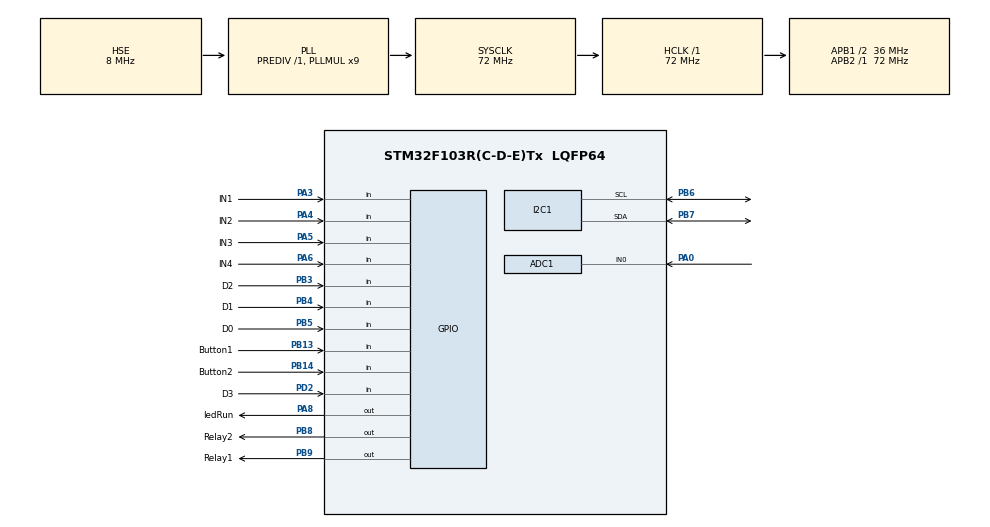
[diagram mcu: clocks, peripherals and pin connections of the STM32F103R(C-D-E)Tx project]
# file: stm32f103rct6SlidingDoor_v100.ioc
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ADC1.Channel-0\#ChannelRegularConversion=ADC_CHANNEL_0
ADC1.ContinuousConvMode=ENABLE
ADC1.NbrOfConversionFlag=1
ADC1.Rank-0\#ChannelRegularConversion=1
ADC1.SamplingTime-0\#ChannelRegularConversion=ADC_SAMPLETIME_239CYCLES_5
ADC1.master=1
Dma.ADC1.0.Direction=DMA_PERIPH_TO_MEMORY
Dma.ADC1.0.Instance=DMA1_Channel1
Dma.ADC1.0.MemDataAlignment=DMA_MDATAALIGN_HALFWORD
Dma.ADC1.0.MemInc=DMA_MINC_ENABLE
Dma.ADC1.0.Mode=DMA_CIRCULAR
Dma.ADC1.0.PeriphDataAlignment=DMA_PDATAALIGN_HALFWORD
Dma.ADC1.0.PeriphInc=DMA_PINC_DISABLE
Dma.ADC1.0.Priority=DMA_PRIORITY_LOW
Dma.Request0=ADC1
FREERTOS.Tasks01=defaultTask,24,128,StartDefaultTask,Default,NULL,Dynamic,NULL,NULL;myTask02,8,128,StartTask02,Default,NULL,Dynamic,NULL,NULL;myTask03,8,128,StartTask03,Default,NULL,Dynamic,NULL,NULL;myTask04,8,128,StartTask04,Default,NULL,Dynamic,NULL,NULL
I2C1.I2C_Mode=I2C_Fast
Mcu.Family=STM32F1
Mcu.Name=STM32F103R(C-D-E)Tx
Mcu.Package=LQFP64
NVIC.DMA1_Channel1_IRQn=true\:5\:0\:false\:false\:true\:true\:false\:true
NVIC.PriorityGroup=NVIC_PRIORITYGROUP_4
NVIC.TIM1_UP_IRQn=true\:15\:0\:false\:false\:true\:false\:false\:true
NVIC.TimeBase=TIM1_UP_IRQn
NVIC.TimeBaseIP=TIM1
PA0-WKUP.Signal=ADCx_IN0
PA13.Mode=Serial_Wire
PA13.Signal=SYS_JTMS-SWDIO
PA14.Mode=Serial_Wire
PA14.Signal=SYS_JTCK-SWCLK
PA3.GPIO_Label=IN1
PA3.GPIO_Mode=GPIO_MODE_INPUT
PA3.GPIO_PuPd=GPIO_PULLUP
PA3.Signal=GPIO_Input
PA4.GPIO_Label=IN2
PA4.GPIO_Mode=GPIO_MODE_INPUT
PA4.GPIO_PuPd=GPIO_PULLUP
PA4.Signal=GPIO_Input
PA5.GPIO_Label=IN3
PA5.GPIO_Mode=GPIO_MODE_INPUT
PA5.GPIO_PuPd=GPIO_PULLUP
PA5.Signal=GPIO_Input
PA6.GPIO_Label=IN4
PA6.GPIO_Mode=GPIO_MODE_INPUT
PA6.GPIO_PuPd=GPIO_PULLUP
PA6.Signal=GPIO_Input
PA8.GPIO_Label=ledRun
PA8.GPIO_ModeDefaultOutputPP=GPIO_MODE_OUTPUT_PP
PA8.GPIO_Speed=GPIO_SPEED_FREQ_HIGH
PA8.Signal=GPIO_Output
PB13.GPIO_Label=Button1
PB13.GPIO_Mode=GPIO_MODE_INPUT
PB13.GPIO_PuPd=GPIO_PULLUP
PB13.Signal=GPIO_Input
PB14.GPIO_Label=Button2
PB14.GPIO_Mode=GPIO_MODE_INPUT
PB14.GPIO_PuPd=GPIO_PULLUP
PB14.Signal=GPIO_Input
PB3.GPIO_Label=D2
PB3.GPIO_Mode=GPIO_MODE_INPUT
PB3.GPIO_PuPd=GPIO_PULLDOWN
PB3.Signal=GPIO_Input
PB4.GPIO_Label=D1
PB4.GPIO_Mode=GPIO_MODE_INPUT
PB4.GPIO_PuPd=GPIO_PULLDOWN
PB4.Signal=GPIO_Input
PB5.GPIO_Label=D0
PB5.GPIO_Mode=GPIO_MODE_INPUT
PB5.GPIO_PuPd=GPIO_PULLDOWN
PB5.Signal=GPIO_Input
PB6.Mode=I2C
PB6.Signal=I2C1_SCL
PB7.Mode=I2C
PB7.Signal=I2C1_SDA
PB8.GPIO_Label=Relay2
PB8.GPIO_ModeDefaultOutputPP=GPIO_MODE_OUTPUT_PP
PB8.GPIO_PuPd=GPIO_NOPULL
PB8.GPIO_Speed=GPIO_SPEED_FREQ_LOW
PB8.PinState=GPIO_PIN_SET
PB8.Signal=GPIO_Output
PB9.GPIO_Label=Relay1
PB9.GPIO_ModeDefaultOutputPP=GPIO_MODE_OUTPUT_PP
PB9.GPIO_PuPd=GPIO_NOPULL
PB9.GPIO_Speed=GPIO_SPEED_FREQ_LOW
PB9.PinState=GPIO_PIN_SET
PB9.Signal=GPIO_Output
PD0-OSC_IN.Mode=HSE-External-Oscillator
PD0-OSC_IN.Signal=RCC_OSC_IN
PD1-OSC_OUT.Mode=HSE-External-Oscillator
PD1-OSC_OUT.Signal=RCC_OSC_OUT
PD2.GPIO_Label=D3
PD2.GPIO_Mode=GPIO_MODE_INPUT
PD2.GPIO_PuPd=GPIO_PULLDOWN
PD2.Signal=GPIO_Input
ProjectManager.HeapSize=0x200
ProjectManager.StackSize=0x400
ProjectManager.TargetToolchain=MDK-ARM V5.32
RCC.ADCPresc=RCC_ADCPCLK2_DIV6
RCC.AHBFreq_Value=72000000
RCC.APB1CLKDivider=RCC_HCLK_DIV2
RCC.APB1Freq_Value=36000000
RCC.APB1TimFreq_Value=72000000
RCC.APB2Freq_Value=72000000
RCC.APB2TimFreq_Value=72000000
RCC.HCLKFreq_Value=72000000
RCC.PLLMUL=RCC_PLL_MUL9
RCC.PLLSourceVirtual=RCC_PLLSOURCE_HSE
RCC.SYSCLKFreq_VALUE=72000000
RCC.SYSCLKSource=RCC_SYSCLKSOURCE_PLLCLK
RCC.USBFreq_Value=72000000
SH.ADCx_IN0.0=ADC1_IN0,IN0
VP_FREERTOS_VS_CMSIS_V2.Mode=CMSIS_V2
VP_SYS_VS_tim1.Mode=TIM1
board=custom

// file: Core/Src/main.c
/* USER CODE BEGIN Header */
/**
  ******************************************************************************
  * @file           : main.c
  * @brief          : Main program body
  ******************************************************************************
  * @attention
  *
  * <h2><center>&copy; Copyright (c) 2020 STMicroelectronics.
  * All rights reserved.</center></h2>
  *
  * This software component is licensed by ST under Ultimate Liberty license
  * SLA0044, the "License"; You may not use this file except in compliance with
  * the License. You may obtain a copy of the License at:
  *                             www.st.com/SLA0044
  *
  ******************************************************************************
  */
/* USER CODE END Header */
#include "main.h"
#include "cmsis_os.h"

/* USER CODE BEGIN Includes */
#if (OTHER_APPLICATION == 0)

/// HLP_v421_12012022

    #include "skybus_timeOut.h"
    //#include "ssd1306.h"
    #include "ssd1306_dma.h"

    #include "skybus_oled_handle.h"
    #include "skybus_relayMotor.h"
    #include "skybus_eeprom.h"
    #include "skybus_remote.h"
    #include "skybus_process.h"
    #include "skybus_setting.h"
    #include "skybus_opto.h"
#else
    #include "newControl.h"
#endif
/* USER CODE END Includes */

/* USER CODE BEGIN PTD */
typedef enum _relayState_t
{
    RELAY_OFF,
    RELAY_ON,

}relayState_t;
/* USER CODE END PTD */

ADC_HandleTypeDef hadc1;
DMA_HandleTypeDef hdma_adc1;

I2C_HandleTypeDef hi2c1;

/* Definitions for defaultTask */
osThreadId_t defaultTaskHandle;
const osThreadAttr_t defaultTask_attributes = {
  .name = "defaultTask",
  .stack_size = 128 * 4,
  .priority = (osPriority_t) osPriorityNormal,
};
/* Definitions for myTask02 */
osThreadId_t myTask02Handle;
const osThreadAttr_t myTask02_attributes = {
  .name = "myTask02",
  .stack_size = 128 * 4,
  .priority = (osPriority_t) osPriorityLow,
};
/* Definitions for myTask03 */
osThreadId_t myTask03Handle;
const osThreadAttr_t myTask03_attributes = {
  .name = "myTask03",
  .stack_size = 128 * 4,
  .priority = (osPriority_t) osPriorityLow,
};
/* Definitions for myTask04 */
osThreadId_t myTask04Handle;
const osThreadAttr_t myTask04_attributes = {
  .name = "myTask04",
  .stack_size = 128 * 4,
  .priority = (osPriority_t) osPriorityLow,
};
/* USER CODE BEGIN PV */
#if(OTHER_APPLICATION == 0)
    skybus_timeOut_t* timeOut;
    skybus_relayMotor_t* motor;
    skybus_eeprom_t*    eeprom;
    skybus_remote_t*    remote;
    skybus_process_t*   sys_process;
    skybus_setting_t*   setting;
    //skybus_opto_t      opto;
    __IO uint32_t countTask[4];
    __IO uint16_t adc_value[1];
    char data[50] = {0};
    uint16_t VirtAddVarTab[NB_OF_VAR];
    char dma_rx_buf[255];
#endif
/* USER CODE END PV */

void SystemClock_Config(void);
static void MX_GPIO_Init(void);
static void MX_DMA_Init(void);
static void MX_ADC1_Init(void);
static void MX_I2C1_Init(void);
void StartDefaultTask(void *argument);
void StartTask02(void *argument);
void StartTask03(void *argument);
void StartTask04(void *argument);

/* USER CODE BEGIN 0 */
static void relayControl(relayState_t state)
{
    if(state == RELAY_OFF)
    {
        HAL_GPIO_WritePin(Relay1_GPIO_Port, Relay1_Pin, GPIO_PIN_SET);
        HAL_GPIO_WritePin(Relay2_GPIO_Port, Relay2_Pin, GPIO_PIN_SET);

        HAL_GPIO_WritePin(ledRun_GPIO_Port, ledRun_Pin, GPIO_PIN_SET);
    }
    else if(state == RELAY_ON)
    {
        HAL_GPIO_WritePin(Relay1_GPIO_Port, Relay1_Pin, GPIO_PIN_RESET);
        HAL_GPIO_WritePin(Relay2_GPIO_Port, Relay2_Pin, GPIO_PIN_SET);

        HAL_GPIO_WritePin(ledRun_GPIO_Port, ledRun_Pin, GPIO_PIN_RESET);
    }
}

static void relayButtonProcess(void)
{
    static GPIO_PinState pinStt[8];
    static relayState_t state = RELAY_OFF;

    memset(pinStt, GPIO_PIN_SET, 8);

    pinStt[0] = HAL_GPIO_ReadPin(IN1_GPIO_Port, IN1_Pin);
    pinStt[1] = HAL_GPIO_ReadPin(IN2_GPIO_Port, IN2_Pin);
    pinStt[2] = HAL_GPIO_ReadPin(IN3_GPIO_Port, IN3_Pin);
    pinStt[3] = HAL_GPIO_ReadPin(IN4_GPIO_Port, IN4_Pin);

    pinStt[4] = HAL_GPIO_ReadPin(D0_GPIO_Port, D0_Pin);
    pinStt[5] = HAL_GPIO_ReadPin(D1_GPIO_Port, D1_Pin);
    pinStt[6] = HAL_GPIO_ReadPin(D2_GPIO_Port, D2_Pin);
    pinStt[7] = HAL_GPIO_ReadPin(D3_GPIO_Port, D3_Pin);

    for(uint8_t i = 0; i < 4; i++)
    {
        if(pinStt[i] == GPIO_PIN_RESET)
        {
            HAL_Delay(500);

            state = !state;

            break;
        }
    }

    for(uint8_t i = 4; i < 8; i++)
    {
        if(pinStt[i] == GPIO_PIN_RESET)
        {
            HAL_Delay(500);

            state = !state;

            break;
        }
    }

    relayControl(state);
}
/* USER CODE END 0 */

int main(void)
{

  /* MCU Configuration--------------------------------------------------------*/

  /* Reset of all peripherals, Initializes the Flash interface and the Systick. */
  HAL_Init();

  /* Configure the system clock */
  SystemClock_Config();

  /* Initialize all configured peripherals */
  MX_GPIO_Init();
  MX_DMA_Init();
  MX_ADC1_Init();
  MX_I2C1_Init();
  /* USER CODE BEGIN 2 */
  #if(OTHER_APPLICATION == 0)
    timeOut = skybus_timeOut_init();
    ssd1306_Init ();
    ssd1306_Clear ();
    ssd1306_SetColor (White);

    if(HAL_ADC_Start(&hadc1) != HAL_OK)
    {
        Error_Handler();
    }

    if(HAL_ADC_Start_DMA(&hadc1, (uint32_t *)adc_value, 1) != HAL_OK)
    {
        /// cau hinh phan adc analog error
        Error_Handler();
    }

    remote = skybus_remote_init();
//    opto_button = skybus_opto_init();
    eeprom = skybus_eeprom_init();
    setting = skybus_setting_init();
    motor = skybus_relayMotor_init();
    sys_process = skybus_sys_process_init();

//    /// get current Offset
    sys_process->OffsetReal();
  #else
    newControlConfiguration();
  #endif
  /* USER CODE END 2 */

  /* Init scheduler */
  osKernelInitialize();

  /* Create the thread(s) */
  /* creation of defaultTask */
  defaultTaskHandle = osThreadNew(StartDefaultTask, NULL, &defaultTask_attributes);

  /* creation of myTask02 */
  myTask02Handle = osThreadNew(StartTask02, NULL, &myTask02_attributes);

  /* creation of myTask03 */
  myTask03Handle = osThreadNew(StartTask03, NULL, &myTask03_attributes);

  /* creation of myTask04 */
  myTask04Handle = osThreadNew(StartTask04, NULL, &myTask04_attributes);

  /* Start scheduler */
  osKernelStart();

  /* We should never get here as control is now taken by the scheduler */
  /* Infinite loop */
  while (1)
  {

  }
}

void SystemClock_Config(void)
{
  RCC_OscInitTypeDef RCC_OscInitStruct = {0};
  RCC_ClkInitTypeDef RCC_ClkInitStruct = {0};
  RCC_PeriphCLKInitTypeDef PeriphClkInit = {0};

  /** Initializes the RCC Oscillators according to the specified parameters
  * in the RCC_OscInitTypeDef structure.
  */
  RCC_OscInitStruct.OscillatorType = RCC_OSCILLATORTYPE_HSE;
  RCC_OscInitStruct.HSEState = RCC_HSE_ON;
  RCC_OscInitStruct.HSEPredivValue = RCC_HSE_PREDIV_DIV1;
  RCC_OscInitStruct.HSIState = RCC_HSI_ON;
  RCC_OscInitStruct.PLL.PLLState = RCC_PLL_ON;
  RCC_OscInitStruct.PLL.PLLSource = RCC_PLLSOURCE_HSE;
  RCC_OscInitStruct.PLL.PLLMUL = RCC_PLL_MUL9;
  if (HAL_RCC_OscConfig(&RCC_OscInitStruct) != HAL_OK)
  {
    Error_Handler();
  }
  /** Initializes the CPU, AHB and APB buses clocks
  */
  RCC_ClkInitStruct.ClockType = RCC_CLOCKTYPE_HCLK|RCC_CLOCKTYPE_SYSCLK
                              |RCC_CLOCKTYPE_PCLK1|RCC_CLOCKTYPE_PCLK2;
  RCC_ClkInitStruct.SYSCLKSource = RCC_SYSCLKSOURCE_PLLCLK;
  RCC_ClkInitStruct.AHBCLKDivider = RCC_SYSCLK_DIV1;
  RCC_ClkInitStruct.APB1CLKDivider = RCC_HCLK_DIV2;
  RCC_ClkInitStruct.APB2CLKDivider = RCC_HCLK_DIV1;

  if (HAL_RCC_ClockConfig(&RCC_ClkInitStruct, FLASH_LATENCY_2) != HAL_OK)
  {
    Error_Handler();
  }
  PeriphClkInit.PeriphClockSelection = RCC_PERIPHCLK_ADC;
  PeriphClkInit.AdcClockSelection = RCC_ADCPCLK2_DIV6;
  if (HAL_RCCEx_PeriphCLKConfig(&PeriphClkInit) != HAL_OK)
  {
    Error_Handler();
  }
}

static void MX_ADC1_Init(void)
{

  ADC_ChannelConfTypeDef sConfig = {0};

  /** Common config
  */
  hadc1.Instance = ADC1;
  hadc1.Init.ScanConvMode = ADC_SCAN_DISABLE;
  hadc1.Init.ContinuousConvMode = ENABLE;
  hadc1.Init.DiscontinuousConvMode = DISABLE;
  hadc1.Init.ExternalTrigConv = ADC_SOFTWARE_START;
  hadc1.Init.DataAlign = ADC_DATAALIGN_RIGHT;
  hadc1.Init.NbrOfConversion = 1;
  if (HAL_ADC_Init(&hadc1) != HAL_OK)
  {
    Error_Handler();
  }
  /** Configure Regular Channel
  */
  sConfig.Channel = ADC_CHANNEL_0;
  sConfig.Rank = ADC_REGULAR_RANK_1;
  sConfig.SamplingTime = ADC_SAMPLETIME_239CYCLES_5;
  if (HAL_ADC_ConfigChannel(&hadc1, &sConfig) != HAL_OK)
  {
    Error_Handler();
  }

}

static void MX_I2C1_Init(void)
{

  hi2c1.Instance = I2C1;
  hi2c1.Init.ClockSpeed = 400000;
  hi2c1.Init.DutyCycle = I2C_DUTYCYCLE_2;
  hi2c1.Init.OwnAddress1 = 0;
  hi2c1.Init.AddressingMode = I2C_ADDRESSINGMODE_7BIT;
  hi2c1.Init.DualAddressMode = I2C_DUALADDRESS_DISABLE;
  hi2c1.Init.OwnAddress2 = 0;
  hi2c1.Init.GeneralCallMode = I2C_GENERALCALL_DISABLE;
  hi2c1.Init.NoStretchMode = I2C_NOSTRETCH_DISABLE;
  if (HAL_I2C_Init(&hi2c1) != HAL_OK)
  {
    Error_Handler();
  }

}

static void MX_DMA_Init(void)
{

  /* DMA controller clock enable */
  __HAL_RCC_DMA1_CLK_ENABLE();

  /* DMA interrupt init */
  /* DMA1_Channel1_IRQn interrupt configuration */
  HAL_NVIC_SetPriority(DMA1_Channel1_IRQn, 5, 0);
  HAL_NVIC_EnableIRQ(DMA1_Channel1_IRQn);

}

static void MX_GPIO_Init(void)
{
  GPIO_InitTypeDef GPIO_InitStruct = {0};

  /* GPIO Ports Clock Enable */
  __HAL_RCC_GPIOD_CLK_ENABLE();
  __HAL_RCC_GPIOA_CLK_ENABLE();
  __HAL_RCC_GPIOB_CLK_ENABLE();

  /*Configure GPIO pin Output Level */
  HAL_GPIO_WritePin(ledRun_GPIO_Port, ledRun_Pin, GPIO_PIN_RESET);

  /*Configure GPIO pin Output Level */
  HAL_GPIO_WritePin(GPIOB, Relay2_Pin|Relay1_Pin, GPIO_PIN_SET);

  /*Configure GPIO pins : IN1_Pin IN2_Pin IN3_Pin IN4_Pin */
  GPIO_InitStruct.Pin = IN1_Pin|IN2_Pin|IN3_Pin|IN4_Pin;
  GPIO_InitStruct.Mode = GPIO_MODE_INPUT;
  GPIO_InitStruct.Pull = GPIO_PULLUP;
  HAL_GPIO_Init(GPIOA, &GPIO_InitStruct);

  /*Configure GPIO pins : Button1_Pin Button2_Pin */
  GPIO_InitStruct.Pin = Button1_Pin|Button2_Pin;
  GPIO_InitStruct.Mode = GPIO_MODE_INPUT;
  GPIO_InitStruct.Pull = GPIO_PULLUP;
  HAL_GPIO_Init(GPIOB, &GPIO_InitStruct);

  /*Configure GPIO pin : ledRun_Pin */
  GPIO_InitStruct.Pin = ledRun_Pin;
  GPIO_InitStruct.Mode = GPIO_MODE_OUTPUT_PP;
  GPIO_InitStruct.Pull = GPIO_NOPULL;
  GPIO_InitStruct.Speed = GPIO_SPEED_FREQ_HIGH;
  HAL_GPIO_Init(ledRun_GPIO_Port, &GPIO_InitStruct);

  /*Configure GPIO pin : D3_Pin */
  GPIO_InitStruct.Pin = D3_Pin;
  GPIO_InitStruct.Mode = GPIO_MODE_INPUT;
  GPIO_InitStruct.Pull = GPIO_PULLDOWN;
  HAL_GPIO_Init(D3_GPIO_Port, &GPIO_InitStruct);

  /*Configure GPIO pins : D2_Pin D1_Pin D0_Pin */
  GPIO_InitStruct.Pin = D2_Pin|D1_Pin|D0_Pin;
  GPIO_InitStruct.Mode = GPIO_MODE_INPUT;
  GPIO_InitStruct.Pull = GPIO_PULLDOWN;
  HAL_GPIO_Init(GPIOB, &GPIO_InitStruct);

  /*Configure GPIO pins : Relay2_Pin Relay1_Pin */
  GPIO_InitStruct.Pin = Relay2_Pin|Relay1_Pin;
  GPIO_InitStruct.Mode = GPIO_MODE_OUTPUT_PP;
  GPIO_InitStruct.Pull = GPIO_NOPULL;
  GPIO_InitStruct.Speed = GPIO_SPEED_FREQ_LOW;
  HAL_GPIO_Init(GPIOB, &GPIO_InitStruct);

}

void StartDefaultTask(void *argument)
{
  /* USER CODE BEGIN 5 */
  /* Infinite loop */
  for(;;)
  {
//      relayButtonProcess();
      newControlProcess();
    osDelay(1);
  }
  /* USER CODE END 5 */
}

void StartTask02(void *argument)
{
  /* USER CODE BEGIN StartTask02 */
  /* Infinite loop */
  for(;;)
  {
      #if(OTHER_APPLICATION == 0)
        skybus_process_optoControlSystem();

        if(sys_process->enable == true)
        {
            sys_process->system_process();
        }
        else
        {
            if(sys_process->stopMotor_resetVariables() == true)
            {
                sys_process->reason_motorStop = BUTTON_DISABLE;
            }
        }
        skybus_opto_process();

      #endif
    osDelay(1);
  }
  /* USER CODE END StartTask02 */
}

void StartTask03(void *argument)
{
  /* USER CODE BEGIN StartTask03 */
  /* Infinite loop */
  for(;;)
  {
      #if(OTHER_APPLICATION == 0)
        if(sys_process->enable == true)
        {
            if(motor->motorStates == RELAY_MOTOR_RUN_CLOSE)
            {
                motor->ledToogleTime = 100;
            }
            else if(motor->motorStates == RELAY_MOTOR_RUN_OPEN)
            {
                motor->ledToogleTime = 200;
            }
            else if(motor->motorStates == RELAY_MOTOR_RUN_STOP)
            {
                motor->ledToogleTime = 500;
            }
        }
        else
        {
            motor->ledToogleTime = 3000;
        }

            if(tO()->get(motor->ledToogleTime, RUNLED_TOGGLE))
            {
                HAL_GPIO_TogglePin(ledRun_GPIO_Port, ledRun_Pin);
            }

        setting->process();
      #endif
    osDelay(1);
  }
  /* USER CODE END StartTask03 */
}

void StartTask04(void *argument)
{
  /* USER CODE BEGIN StartTask04 */
    #if(OTHER_APPLICATION == 0)
    uint32_t timeCheckOled = 0;
    bool applyOled = true;
    #endif
  /* Infinite loop */
  for(;;)
  {
      #if(OTHER_APPLICATION == 0)
        if(HAL_GetTick() - timeCheckOled > 5000 || timeCheckOled == 0)
        {
            timeCheckOled = HAL_GetTick();

            if(HAL_I2C_IsDeviceReady(&hi2c1, SSD1306_I2C_ADDR, 10, 100) != HAL_OK)
            {
                applyOled = false;
            }
        }

        if(applyOled == true)
        {
            skybus_oled_handle_callback();
        }
      #endif
    osDelay(1);
  }
  /* USER CODE END StartTask04 */
}

void HAL_TIM_PeriodElapsedCallback(TIM_HandleTypeDef *htim)
{
  if (htim->Instance == TIM1) {
    HAL_IncTick();
  }
}

void Error_Handler(void)
{
}

/************************ (C) COPYRIGHT STMicroelectronics *****END OF FILE****/
